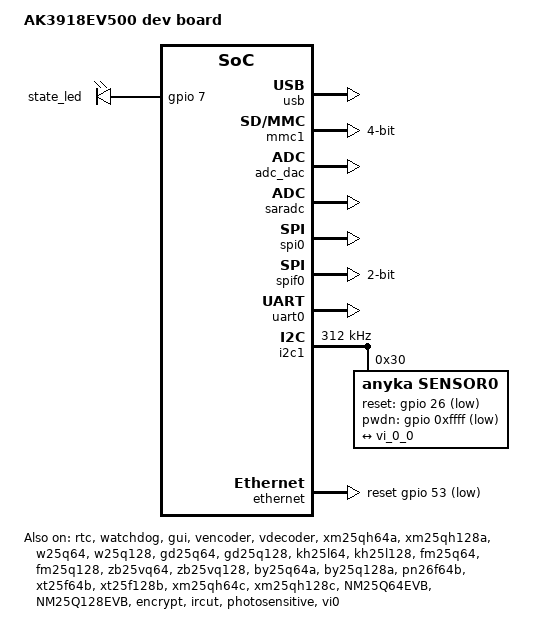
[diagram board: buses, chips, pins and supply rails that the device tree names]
/*
 * AK3918EV500 dev board dts
 *
 * Copyright (C) 2018 Anyka(Guangzhou) Microelectronics Technology Co., Ltd.
 *
 * Author: Feilong Dong <dong_feilong@anyka.com>
 *
 * This program is free software; you can redistribute it and/or modify
 * it under the terms of the GNU General Public License as published by
 * the Free Software Foundation; either version 2 of the License, or
 * (at your option) any later version.
 *
 * This program is distributed in the hope that it will be useful,
 * but WITHOUT ANY WARRANTY; without even the implied warranty of
 * MERCHANTABILITY or FITNESS FOR A PARTICULAR PURPOSE.  See the
 * GNU General Public License for more details.
 */

/dts-v1/;
#include "anycloud_ak37d.dtsi"
#include "anycloud_ak37d_lcd.dtsi"
#include "anycloud_ak37d_norflash.dtsi"
#include "anycloud_ak37d_nandflash1.dtsi"

/ {
    compatible = "anyka,ak3918ev500";
    model = "AK3918EV500 dev board";
	version = "V1.0.02";
};

&gpio {
    /* anyka,function sharepin func index according to table 2-1 sharepin-list */
    /* index: 0: PIN default func, 1: FUNCTION1, 2: FUNCTION2, 3: FUNCTION3, 4: FUNCTION4 */
    /* anyka,pull config value bit[31:24]--slew rate, bit[23:16]--ie, bit[15:8]--drive, bit[7:0]--pupd config */
    /* bit[31:24]--slew rate, 0: slow, 1: fast */
    /* bit[23:16]--ie, input enable, 0: disable, 1: enable */
    /* bit[15:8]--drive, drive strength, 4levels value: 0x0-0x3 */
    /* bit[7:0]--bit[7]: open drain 0:disable, 1:enable (only for gpio31/32);
				pupd config, bit[6:4] 1:enable/ 0:disable, bit[3:0] 0:select PU /1:select PD */

    ircut_pins: ircut_pins {
        anyka,pins = <4 5>;
        anyka,function = <0>;
        anyka,pull = <0x01010310>;
    };

    dvp0_12bits_pins: dvp0_12bits_pins {
        anyka,pins = <25 26 27 28 111 112 113 114 115 116 117 118 119 120 121 122>;
        anyka,function = <1>;
        anyka,pull = <0x01010310>;
    };

    dvp0_10bits_pins: dvp0_10bits_pins {
        anyka,pins = <25 26 27 28 111 112 113 114 115 116 117 118 119 120 121 122>;
        anyka,function = <1>;
        anyka,pull = <0x01010310>;
    };

    dvp0_8bits_pins: dvp0_8bits_pins {
        anyka,pins = <25 26 27 28 111 112 113 114 115 116 117 118 119 120 121 122>;
        anyka,function = <1>;
        anyka,pull = <0x01010310>;
    };

    mipi0_2lane_pins: mipi0_2lane_pins {
        anyka,pins = <25 111 112 113 114 115 116>;
        anyka,function = <1 2 2 2 2 2 2>;
        anyka,pull = <0x01010310>;
    };

    mipi0_1lane_pins: mipi0_1lane_pins {
        anyka,pins = <25 111 112 113 114>;
        anyka,function = <1 2 2 2 2>;
        anyka,pull = <0x01010310>;
    };

    mipi1_2lane_pins: mipi1_2lane_pins {
        anyka,pins = <26 117 118 119 120 121 122>;
        anyka,function = <1 2 2 2 2 2 2>;
        anyka,pull = <0x01010310>;
    };

    mipi1_1lane_pins: mipi1_1lane_pins {
        anyka,pins = <26 117 118 119 120>;
        anyka,function = <1 2 2 2 2>;
        anyka,pull = <0x01010310>;
    };

    csi0_sclk_pin: csi0_sclk_pin {
        anyka,pins = <25>;
        anyka,function = <1>;
        anyka,pull = <0x01010310>;
    };

    csi1_sclk_pin: csi1_sclk_pin {
        anyka,pins = <26>;
        anyka,function = <1>;
        anyka,pull = <0x01010310>;
    };

    i2c1_pins: i2c1_pins {
        anyka,pins = <27 28>;
        anyka,function = <3>;
        anyka,pull = <0x01010310>;
        //anyka,pull = <0x01011110>;
    };
    mci1_pins: mci1_pins {
        anyka,pins = <43 44 45 46 47 48>;
        anyka,function = <1>;
        anyka,pull = <0x10010 0x10000 0x10010 0x10010 0x10010 0x10010>; /* 4 line */

        /* 1 line */
        /*
        anyka,pins = <43 44 45>;
        anyka,function = <1>;
        anyka,pull = <0x10010 0x10000 0x10010>;*/
    };
    
    mci1_idle_pins:mci1_idle_pins{
	anyka,pins = <43 44 45 46 47 48>;
	anyka,function = <0>;
	anyka,pull = <0x00000>; /* 4 line */
    };
    

    tf_en_pins:tf_en_pins{
        anyka,pins = <3>;
	    anyka,function = <0>;
        anyka,pull = <0x01000310>;
    };



    spiflash_pins: spiflash_pins {
        anyka,pins = <12 3 67 68 69 70>; /* 4 LINE mode, 12 is spi nor cs, 3 is spinand cs*/
        anyka,function = <1 0 0 0 0 0>;
        anyka,pull = <0x01010010>;
    };
    				
    /*speak_en and linein_detect gpio setting */
    speak_pins: speak_pins {
        anyka,pins = <97>; 
        anyka,function = <0>;
        anyka,pull = <0x01010010>;
    };
    
    uart0_pins: uart0_pins {
        anyka,pins = <1 2>;
        anyka,function = <1>;
        anyka,pull = <0x01010010>;
    };
    uart1_pins: uart1_pins {
        anyka,pins = <36 37>;
        anyka,function = <2 3>;
        anyka,pull = <0x01010010>;
    };
    uart2_pins: uart2_pins {
        anyka,pins = <34 35>;
        anyka,function = <2>;
        anyka,pull = <0x01010010>;
    };
    uart3_pins: uart3_pins {
        anyka,pins = <4 5>;
        anyka,function = <2>;
        anyka,pull = <0x01010010>;
    }; 
    
	phy_reset_pins: phy_reset_pins {		
		anyka,pins = <53>;		
	    anyka,function = <0>;
        anyka,pull = <0x01000010>;
    };

    ethernet_pins_rmii: ethernet_pins_rmii {
		anyka,pins 		= <10 11 13 14 15 19 20 23 24 49>;
        anyka,function 	= <1>;
        anyka,pull = <0x01010011 0x01010010 0x01010011 0x01010011 0x01010011 0x01010011 0x01010011 0x01010011 0x01010011 0x01010210>;
    };

    /*led */
    led_pins: led_pins {
        anyka,pins = <7>;
        anyka,function = <0>;
        anyka,pull = <0x01010010>;
    };
};

&rtc {
	 /*
	  * rtc osc_source_select, 1 means INTERNAL RC OSC, 0 means EXTERNAL XTAL
	  * if internal RC OSC is used to generate 32KH,time adjustment should be setting.(basic unit: ms)
	  */
	 osc-select = <1>;
	 adjust-time = <120000>;
   status = "okay";
};

&watchdog {
		/*max feed dog time = 357s, default setting time = 10s. */
    def_heartbeat = <10>;
    status = "okay";
};

&gui {
    status = "okay";
};

&vencoder {
    status = "okay";
};

&vdecoder {
    status = "okay";
};

&usb {
    status = "okay"; 
};

&mmc1 {
    bus-width = <0x4>;
    max-frequency = <50000000>;
    /*
     *  detect mode:
     *  (1) non-removable;
     *  (2) detect-gpio/detect-gpios: card detect using gpio
     *      for example:
     *      detect-gpio = <&gpio 77 1>;  or detect-gpios = <&gpio 77 1>;  
     *  (3) cd_clk: card detect using MCLK
     *  default is non-removable
     */
    cd_clk;
    /* if support highspeed, using cap-sd-highspeed */
    cap-sd-highspeed;
    pinctrl-names = "default","idle";
    pinctrl-0 = <&mci1_pins>,<&tf_en_pins>;
    pinctrl-1 = <&mci1_idle_pins>;
    /*
    * support tf card circuit enable function
    */
    power-pins = <&gpio 5 1>;
    power-inverted;
    status = "okay";
};



&adc_dac {
    pinctrl-names = "default";
    pinctrl-0 = <&speak_pins>;
    speak-gpios = <&gpio 97 1>;
    /*the level of speak-gpios votage for power on audio: 0=low, 1=high*/
    speak-gpios-en = <1>;
    status = "okay";

    dev0 {
        snd-dev = <SND_CARD_DAC_PLAYBACK>;
        snd-type = <AK_PCM_DEV_PLAYBACK>;
        snd-idx = <0>;
    };

    dev1 {
        snd-dev = <SND_CARD_ADC_CAPTURE>;
        snd-type = <AK_PCM_DEV_CAPTURE>;
        snd-idx = <0>;
    };

    dev2 {
        snd-dev = <SND_CARD_DAC_LOOPBACK>;
        snd-type = <AK_PCM_DEV_LOOPBACK>;
        snd-idx = <0>;
    };
};

&saradc{
    /* SAR ADC VREF selection
    * 0:To select AVCC 3.3V as VREF for SAR ADC.
    * 1:To select 3.0V generated from BGR as VREF for SAR ADC.
    */
    vref-select = <1>;
    /*
    * 0:To disable BAT voltage divider. 
    * 1:To enable BAT voltage divider divided by 2.
    */
    battery-divider = <1>;
    /*
    * Sampling number
    * Read the sampling data for N times and then calculate the average value.
    * N ranges from 1 to 7.
    */
     sampling-num = <3>;
     status = "okay";
};

&spi0 {
    pinctrl-names = "default";
    pinctrl-0 = <&spiflash_pins>;
    cs-gpios = <&gpio 12 1>;
    spi-bus-frequency = <80000000>;
    /*
     * cap-spi-highspeed;
     * if defined, means high speed controller(Maximum 80M/s);
     * if not, means normal speed controller(below 60M/s)
     */
    cap-spi-highspeed;
    status = "okay";
};

&spif0 {
	/* spi flash data bus width:
	** 0 means 1 wire mode.
	** 1 means 2 wire mode
	** 2 means 4 wire mode.
	** default: 4 wire mode.
	**/
	bus-width = <2>;
	status = "okay";
};

&xm25qh64a{
    status = "okay";
};

&xm25qh128a{
    status = "okay"; 
};

&w25q64{
    status = "okay"; 
};

&w25q128{
    status = "okay";
};

&gd25q64{
    status = "okay";
};

&gd25q128{
    status = "okay";
};

&kh25l64{
    status = "okay";
};

&kh25l128{
    status = "okay";
};

&fm25q64{
    status = "okay";
};

&fm25q128{
    status = "okay";
};

&zb25vq64{
    status = "okay";
};

&zb25vq128{
    status = "okay";
};

&by25q64a{
    status = "okay";
};

&by25q128a{
    status = "okay";
};

&pn26f64b{
    status = "okay";
};

&xt25f64b{
    status = "okay";
};

&xt25f128b{
    status = "okay";
};

&xm25qh64c{
    status = "okay";
};

&xm25qh128c{
    status = "okay";
};

&NM25Q64EVB{
    status = "okay";
};

&NM25Q128EVB{
    status = "okay";
};
&uart0 {
    pinctrl-names = "default";
	pinctrl-0 = <&uart0_pins>;
    status = "okay";
};

&uart1 {
    pinctrl-names = "default";
	pinctrl-0 = <&uart1_pins>;
    status = "disable";
};

&uart2 {
    pinctrl-names = "default";
	pinctrl-0 = <&uart2_pins>;
    status = "disable";
};

&uart3 {
    pinctrl-names = "default";
	pinctrl-0 = <&uart3_pins>;
    status = "disable";
};

&i2c1 {
    pinctrl-names = "default";
    pinctrl-0 = <&i2c1_pins>;

    clock-frequency = <312000>;
    sda-delay = <100>;
    status = "okay";
	#address-cells = <1>;
	#size-cells = <0>;

	sensor0: camera@0x30{
		compatible = "anyka,sensor0";
		reg = <0x30>;

		/*0xffff means the gpio is invalid*/
		reset-gpio = <&gpio 26 1>;
		pwdn-gpio = <&gpio 0xffff 1>;

		port {
			sensor0_0: endpoint@0 {
				remote-endpoint = <&vi_0_0>;
			};
		};
	};
};


&encrypt{
   /*
    * encrypt-mode
    * 0 = CRYPTO_SINGLE_GROUP_MODE ; 1 = CRYPTO_MULTI_GROUP_MODE
    */
    encrypt-mode = <1>;
    status = "okay";
};

&ethernet {
    pinctrl-names = "default";
    pinctrl-0 = <&ethernet_pins_rmii &phy_reset_pins>;
    reset-gpios = <&gpio 53  1>;
	phy-address = <1>;
    status = "okay";
};

&ircut {
    pinctrl-names = "default";
    pinctrl-0 = <&ircut_pins>;

	ircut-a = "4";
	ircut-b = "5";
	/*set the level for day mode. range: 0, 1*/
	ircut-a-day-level = "0";
	status = "okay";
};
&photosensitive {
    //pinctrl-names = "default";
    //pinctrl-0 = <&photosensitive_pins>;

	/*range: saradc~1, gpio number*/
	photosensitive-port = "saradc0";
	/*the level for day mode, range: low, high*/
	photosensitive-day-level = "high";
    photosensitive-higher-level = "900";
    photosensitive-lower-level = "400";
	status = "okay";
};
&leds {
    pinctrl-names = "default";
    pinctrl-0 = <&led_pins>;
    status = "okay";

    state_led {
        label = "state_led";
        gpios = <&gpio 7 GPIO_ACTIVE_HIGH>;
    };
};

&adkeys {
	status = "disable";
};



&motor0 {
	status = "disable";
};

&motor1 {
	status = "disable";
};

&pwm0 {
	pinctrl-names = "default";

	//pinctrl-0 = <&pwm0_pins>;
	/*
	**frequency of PWM ranges from 92/256Hz(0.36Hz) to 6MHz.
	**duty of PWM ranges from 1 to 65535.
	**Minimum duty cycle:1/65536
	**Maximum duty cyscle:65535/65536.
	**period-ns: period of the PWM signal (in nanoseconds)
        **duty-ns: duty cycle of the PWM signal (in nanoseconds)
	**pwm-enable = 0 means disable pwm function.
	**pwm-enable = 1 means enable pwm function.
	*/
	period-ns = <1000000>;
	duty-ns = <500000>;
	pwm-enable = <1>;

	status = "disable";
};

&pwm1 {
	pinctrl-names = "default";

	//pinctrl-0 = <&pwm1_pins>;
	/*
	**frequency of PWM ranges from 92/256Hz(0.36Hz) to 6MHz.
	**duty of PWM ranges from 1 to 65535.
	**Minimum duty cycle:1/65536
	**Maximum duty cyscle:65535/65536.
	**period-ns: period of the PWM signal (in nanoseconds)
        **duty-ns: duty cycle of the PWM signal (in nanoseconds)
	**pwm-enable = 0 means disable pwm function.
	**pwm-enable = 1 means enable pwm function.
	*/
	period-ns = <1000000>;
	duty-ns = <500000>;
	pwm-enable = <1>;

	status = "disable";
};

&pwm2 {
	pinctrl-names = "default";

	//pinctrl-0 = <&pwm2_pins>;
	/*
	**frequency of PWM ranges from 92/256Hz(0.36Hz) to 6MHz.
	**duty of PWM ranges from 1 to 65535.
	**Minimum duty cycle:1/65536
	**Maximum duty cyscle:65535/65536.
	**period-ns: period of the PWM signal (in nanoseconds)
        **duty-ns: duty cycle of the PWM signal (in nanoseconds)
	**pwm-enable = 0 means disable pwm function.
	**pwm-enable = 1 means enable pwm function.
	*/
	period-ns = <1000000>;
	duty-ns = <500000>;
	pwm-enable = <1>;

	status = "disable";
};

&pwm3 {
	pinctrl-names = "default";

	//pinctrl-0 = <&pwm3_pins>;
	/*
	**frequency of PWM ranges from 92/256Hz(0.36Hz) to 6MHz.
	**duty of PWM ranges from 1 to 65535.
	**Minimum duty cycle:1/65536
	**Maximum duty cyscle:65535/65536.
	**period-ns: period of the PWM signal (in nanoseconds)
        **duty-ns: duty cycle of the PWM signal (in nanoseconds)
	**pwm-enable = 0 means disable pwm function.
	**pwm-enable = 1 means enable pwm function.
	*/
	period-ns = <1000000>;
	duty-ns = <500000>;
	pwm-enable = <1>;
	status = "disable";
};

&pwm4 {
	pinctrl-names = "default";
	//pinctrl-0 = <&pwm4_pins>;
	/*
	**frequency of PWM ranges from 92/256Hz(0.36Hz) to 6MHz.
	**duty of PWM ranges from 1 to 65535.
	**Minimum duty cycle:1/65536
	**Maximum duty cyscle:65535/65536.
	**period-ns: period of the PWM signal (in nanoseconds)
        **duty-ns: duty cycle of the PWM signal (in nanoseconds)
	**pwm-enable = 0 means disable pwm function.
	**pwm-enable = 1 means enable pwm function.
	*/
	period-ns = <1000000>;
	duty-ns = <500000>;
	pwm-enable = <1>;
	status = "disable";
};




&vi0{
	pinctrl-names = "dvp0_12bits", "dvp0_10bits", "dvp0_8bits",
		"mipi0_2lane", "mipi0_1lane", "mipi1_2lane", "mipi1_1lane",
		"csi0_sclk", "csi1_sclk";
    pinctrl-0 = <&dvp0_12bits_pins>;
    pinctrl-1 = <&dvp0_10bits_pins>;
    pinctrl-2 = <&dvp0_8bits_pins>;
    pinctrl-3 = <&mipi0_2lane_pins>;
    pinctrl-4 = <&mipi0_1lane_pins>;
    pinctrl-5 = <&mipi1_2lane_pins>;
    pinctrl-6 = <&mipi1_1lane_pins>;
    pinctrl-7 = <&csi0_sclk_pin>;
    pinctrl-8 = <&csi1_sclk_pin>;
    status = "okay";

	port@0 {
		#address-cells = <1>;
		#size-cells = <0>;

		vi_0_0: endpoint@0 {
			reg = <0>;
			remote-endpoint = <&sensor0_0>;
		};
	};
};
